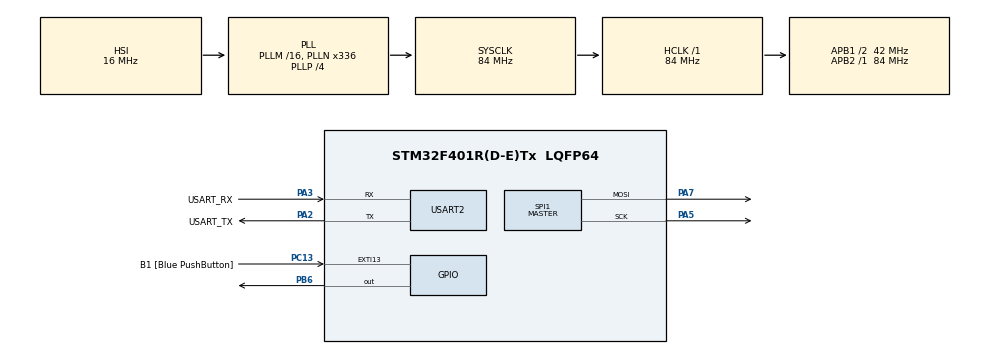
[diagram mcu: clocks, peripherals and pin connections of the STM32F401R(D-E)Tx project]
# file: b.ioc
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Dma.Request0=SPI1_TX
Dma.SPI1_TX.0.Direction=DMA_MEMORY_TO_PERIPH
Dma.SPI1_TX.0.FIFOMode=DMA_FIFOMODE_DISABLE
Dma.SPI1_TX.0.Instance=DMA2_Stream3
Dma.SPI1_TX.0.MemDataAlignment=DMA_MDATAALIGN_BYTE
Dma.SPI1_TX.0.MemInc=DMA_MINC_ENABLE
Dma.SPI1_TX.0.Mode=DMA_NORMAL
Dma.SPI1_TX.0.PeriphDataAlignment=DMA_PDATAALIGN_BYTE
Dma.SPI1_TX.0.PeriphInc=DMA_PINC_DISABLE
Dma.SPI1_TX.0.Priority=DMA_PRIORITY_LOW
Mcu.Family=STM32F4
Mcu.Name=STM32F401R(D-E)Tx
Mcu.Package=LQFP64
NVIC.DMA2_Stream3_IRQn=true\:0\:0\:false\:false\:true\:false\:true\:true
NVIC.PriorityGroup=NVIC_PRIORITYGROUP_0
NVIC.SPI1_IRQn=true\:0\:0\:false\:false\:true\:true\:true\:true
NVIC.TIM1_UP_TIM10_IRQn=true\:0\:0\:false\:false\:true\:true\:true\:true
NVIC.TIM2_IRQn=true\:0\:0\:false\:false\:true\:true\:true\:true
PA13.GPIO_Label=TMS
PA13.Mode=Serial_Wire
PA13.Signal=SYS_JTMS-SWDIO
PA14.GPIO_Label=TCK
PA14.Mode=Serial_Wire
PA14.Signal=SYS_JTCK-SWCLK
PA2.GPIO_Label=USART_TX
PA2.GPIO_Mode=GPIO_MODE_AF_PP
PA2.GPIO_PuPd=GPIO_NOPULL
PA2.GPIO_Speed=GPIO_SPEED_FREQ_LOW
PA2.Mode=Asynchronous
PA2.Signal=USART2_TX
PA3.GPIO_Label=USART_RX
PA3.GPIO_Mode=GPIO_MODE_AF_PP
PA3.GPIO_PuPd=GPIO_NOPULL
PA3.GPIO_Speed=GPIO_SPEED_FREQ_LOW
PA3.Mode=Asynchronous
PA3.Signal=USART2_RX
PA5.Mode=TX_Only_Simplex_Unidirect_Master
PA5.Signal=SPI1_SCK
PA7.Mode=TX_Only_Simplex_Unidirect_Master
PA7.Signal=SPI1_MOSI
PB3.GPIO_Label=SWO
PB3.Signal=SYS_JTDO-SWO
PB6.Signal=GPIO_Output
PC13-ANTI_TAMP.GPIO_Label=B1 [Blue PushButton]
PC13-ANTI_TAMP.GPIO_ModeDefaultEXTI=GPIO_MODE_IT_FALLING
PC13-ANTI_TAMP.GPIO_PuPd=GPIO_NOPULL
PC13-ANTI_TAMP.Signal=GPXTI13
PC14-OSC32_IN.Mode=LSE-External-Oscillator
PC14-OSC32_IN.Signal=RCC_OSC32_IN
PC15-OSC32_OUT.Mode=LSE-External-Oscillator
PC15-OSC32_OUT.Signal=RCC_OSC32_OUT
PH0\ -\ OSC_IN.Mode=HSE-External-Clock-Source
PH0\ -\ OSC_IN.Signal=RCC_OSC_IN
PH1\ -\ OSC_OUT.Mode=HSE-External-Clock-Source
PH1\ -\ OSC_OUT.Signal=RCC_OSC_OUT
ProjectManager.HeapSize=0x200
ProjectManager.StackSize=0x400
ProjectManager.TargetToolchain=STM32CubeIDE
RCC.48MHZClocksFreq_Value=48000000
RCC.AHBFreq_Value=84000000
RCC.APB1CLKDivider=RCC_HCLK_DIV2
RCC.APB1Freq_Value=42000000
RCC.APB1TimFreq_Value=84000000
RCC.APB2Freq_Value=84000000
RCC.APB2TimFreq_Value=84000000
RCC.CortexFreq_Value=84000000
RCC.HCLKFreq_Value=84000000
RCC.HSE_VALUE=8000000
RCC.HSI_VALUE=16000000
RCC.PLLN=336
RCC.PLLP=RCC_PLLP_DIV4
RCC.PLLQ=7
RCC.SYSCLKFreq_VALUE=84000000
RCC.SYSCLKSource=RCC_SYSCLKSOURCE_PLLCLK
RCC.VCOOutputFreq_Value=336000000
SPI1.BaudRatePrescaler=SPI_BAUDRATEPRESCALER_4
SPI1.Direction=SPI_DIRECTION_2LINES
SPI1.Mode=SPI_MODE_MASTER
SPI1.VirtualType=VM_MASTER
TIM10.Period=10000-1
TIM10.Prescaler=8400-1
TIM2.Period=40-1
TIM2.Prescaler=8400-1
USART2.VirtualMode=VM_ASYNC
VP_TIM10_VS_ClockSourceINT.Mode=Enable_Timer
VP_TIM2_VS_ClockSourceINT.Mode=Internal
board=NUCLEO-F401RE

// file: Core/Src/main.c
/* USER CODE BEGIN Header */
/**
  ******************************************************************************
  * @file           : main.c
  * @brief          : Main program body
  ******************************************************************************
  * @attention
  *
  * Copyright (c) 2023 STMicroelectronics.
  * All rights reserved.
  *
  * This software is licensed under terms that can be found in the LICENSE file
  * in the root directory of this software component.
  * If no LICENSE file comes with this software, it is provided AS-IS.
  *
  ******************************************************************************
  */
/* USER CODE END Header */
#include "main.h"

/* USER CODE BEGIN Includes */
#include <string.h>
/* USER CODE END Includes */

/* USER CODE BEGIN PD */
#define RCLK_PIN GPIOB,GPIO_PIN_6
/* USER CODE END PD */

SPI_HandleTypeDef hspi1;
DMA_HandleTypeDef hdma_spi1_tx;

TIM_HandleTypeDef htim2;
TIM_HandleTypeDef htim10;

UART_HandleTypeDef huart2;

/* USER CODE BEGIN PV */
int column_index = 0;
int letter_index = 0;

uint8_t matrix[5][2] = {	// {row, col}, where row is content, col is address
		{49, 16},
		{73, 8},
		{73, 4},
		{73, 2},
		{70, 1}
};

uint8_t matrixS[5][2] = {
		{49, 16},
		{73, 8},
		{73, 4},
		{73, 2},
		{70, 1}
};

uint8_t matrixT[5][2] = {
		{64, 16},
		{64, 8},
		{127, 4},
		{64, 2},
		{64, 1}
};
/* USER CODE END PV */

void SystemClock_Config(void);
static void MX_GPIO_Init(void);
static void MX_DMA_Init(void);
static void MX_USART2_UART_Init(void);
static void MX_SPI1_Init(void);
static void MX_TIM2_Init(void);
static void MX_TIM10_Init(void);

int main(void)
{

  /* MCU Configuration--------------------------------------------------------*/

  /* Reset of all peripherals, Initializes the Flash interface and the Systick. */
  HAL_Init();

  /* Configure the system clock */
  SystemClock_Config();

  /* Initialize all configured peripherals */
  MX_GPIO_Init();
  MX_DMA_Init();
  MX_USART2_UART_Init();
  MX_SPI1_Init();
  MX_TIM2_Init();
  MX_TIM10_Init();
  /* USER CODE BEGIN 2 */
  HAL_TIM_Base_Start_IT(&htim2);
  HAL_TIM_Base_Start_IT(&htim10);
  /* USER CODE END 2 */

  /* Infinite loop */
  while (1)
  {

  }
}

void SystemClock_Config(void)
{
  RCC_OscInitTypeDef RCC_OscInitStruct = {0};
  RCC_ClkInitTypeDef RCC_ClkInitStruct = {0};

  /** Configure the main internal regulator output voltage
  */
  __HAL_RCC_PWR_CLK_ENABLE();
  __HAL_PWR_VOLTAGESCALING_CONFIG(PWR_REGULATOR_VOLTAGE_SCALE2);

  /** Initializes the RCC Oscillators according to the specified parameters
  * in the RCC_OscInitTypeDef structure.
  */
  RCC_OscInitStruct.OscillatorType = RCC_OSCILLATORTYPE_HSI;
  RCC_OscInitStruct.HSIState = RCC_HSI_ON;
  RCC_OscInitStruct.HSICalibrationValue = RCC_HSICALIBRATION_DEFAULT;
  RCC_OscInitStruct.PLL.PLLState = RCC_PLL_ON;
  RCC_OscInitStruct.PLL.PLLSource = RCC_PLLSOURCE_HSI;
  RCC_OscInitStruct.PLL.PLLM = 16;
  RCC_OscInitStruct.PLL.PLLN = 336;
  RCC_OscInitStruct.PLL.PLLP = RCC_PLLP_DIV4;
  RCC_OscInitStruct.PLL.PLLQ = 7;
  if (HAL_RCC_OscConfig(&RCC_OscInitStruct) != HAL_OK)
  {
    Error_Handler();
  }

  /** Initializes the CPU, AHB and APB buses clocks
  */
  RCC_ClkInitStruct.ClockType = RCC_CLOCKTYPE_HCLK|RCC_CLOCKTYPE_SYSCLK
                              |RCC_CLOCKTYPE_PCLK1|RCC_CLOCKTYPE_PCLK2;
  RCC_ClkInitStruct.SYSCLKSource = RCC_SYSCLKSOURCE_PLLCLK;
  RCC_ClkInitStruct.AHBCLKDivider = RCC_SYSCLK_DIV1;
  RCC_ClkInitStruct.APB1CLKDivider = RCC_HCLK_DIV2;
  RCC_ClkInitStruct.APB2CLKDivider = RCC_HCLK_DIV1;

  if (HAL_RCC_ClockConfig(&RCC_ClkInitStruct, FLASH_LATENCY_2) != HAL_OK)
  {
    Error_Handler();
  }
}

static void MX_SPI1_Init(void)
{

  /* SPI1 parameter configuration*/
  hspi1.Instance = SPI1;
  hspi1.Init.Mode = SPI_MODE_MASTER;
  hspi1.Init.Direction = SPI_DIRECTION_2LINES;
  hspi1.Init.DataSize = SPI_DATASIZE_8BIT;
  hspi1.Init.CLKPolarity = SPI_POLARITY_LOW;
  hspi1.Init.CLKPhase = SPI_PHASE_1EDGE;
  hspi1.Init.NSS = SPI_NSS_SOFT;
  hspi1.Init.BaudRatePrescaler = SPI_BAUDRATEPRESCALER_4;
  hspi1.Init.FirstBit = SPI_FIRSTBIT_MSB;
  hspi1.Init.TIMode = SPI_TIMODE_DISABLE;
  hspi1.Init.CRCCalculation = SPI_CRCCALCULATION_DISABLE;
  hspi1.Init.CRCPolynomial = 10;
  if (HAL_SPI_Init(&hspi1) != HAL_OK)
  {
    Error_Handler();
  }

}

static void MX_TIM2_Init(void)
{

  TIM_ClockConfigTypeDef sClockSourceConfig = {0};
  TIM_MasterConfigTypeDef sMasterConfig = {0};

  htim2.Instance = TIM2;
  htim2.Init.Prescaler = 8400-1;
  htim2.Init.CounterMode = TIM_COUNTERMODE_UP;
  htim2.Init.Period = 40-1;
  htim2.Init.ClockDivision = TIM_CLOCKDIVISION_DIV1;
  htim2.Init.AutoReloadPreload = TIM_AUTORELOAD_PRELOAD_DISABLE;
  if (HAL_TIM_Base_Init(&htim2) != HAL_OK)
  {
    Error_Handler();
  }
  sClockSourceConfig.ClockSource = TIM_CLOCKSOURCE_INTERNAL;
  if (HAL_TIM_ConfigClockSource(&htim2, &sClockSourceConfig) != HAL_OK)
  {
    Error_Handler();
  }
  sMasterConfig.MasterOutputTrigger = TIM_TRGO_RESET;
  sMasterConfig.MasterSlaveMode = TIM_MASTERSLAVEMODE_DISABLE;
  if (HAL_TIMEx_MasterConfigSynchronization(&htim2, &sMasterConfig) != HAL_OK)
  {
    Error_Handler();
  }

}

static void MX_TIM10_Init(void)
{

  htim10.Instance = TIM10;
  htim10.Init.Prescaler = 8400-1;
  htim10.Init.CounterMode = TIM_COUNTERMODE_UP;
  htim10.Init.Period = 10000-1;
  htim10.Init.ClockDivision = TIM_CLOCKDIVISION_DIV1;
  htim10.Init.AutoReloadPreload = TIM_AUTORELOAD_PRELOAD_DISABLE;
  if (HAL_TIM_Base_Init(&htim10) != HAL_OK)
  {
    Error_Handler();
  }

}

static void MX_USART2_UART_Init(void)
{

  huart2.Instance = USART2;
  huart2.Init.BaudRate = 115200;
  huart2.Init.WordLength = UART_WORDLENGTH_8B;
  huart2.Init.StopBits = UART_STOPBITS_1;
  huart2.Init.Parity = UART_PARITY_NONE;
  huart2.Init.Mode = UART_MODE_TX_RX;
  huart2.Init.HwFlowCtl = UART_HWCONTROL_NONE;
  huart2.Init.OverSampling = UART_OVERSAMPLING_16;
  if (HAL_UART_Init(&huart2) != HAL_OK)
  {
    Error_Handler();
  }

}

static void MX_DMA_Init(void)
{

  /* DMA controller clock enable */
  __HAL_RCC_DMA2_CLK_ENABLE();

  /* DMA interrupt init */
  /* DMA2_Stream3_IRQn interrupt configuration */
  HAL_NVIC_SetPriority(DMA2_Stream3_IRQn, 0, 0);
  HAL_NVIC_EnableIRQ(DMA2_Stream3_IRQn);

}

static void MX_GPIO_Init(void)
{
  GPIO_InitTypeDef GPIO_InitStruct = {0};

  /* GPIO Ports Clock Enable */
  __HAL_RCC_GPIOC_CLK_ENABLE();
  __HAL_RCC_GPIOH_CLK_ENABLE();
  __HAL_RCC_GPIOA_CLK_ENABLE();
  __HAL_RCC_GPIOB_CLK_ENABLE();

  /*Configure GPIO pin Output Level */
  HAL_GPIO_WritePin(GPIOB, GPIO_PIN_6, GPIO_PIN_RESET);

  /*Configure GPIO pin : B1_Pin */
  GPIO_InitStruct.Pin = B1_Pin;
  GPIO_InitStruct.Mode = GPIO_MODE_IT_FALLING;
  GPIO_InitStruct.Pull = GPIO_NOPULL;
  HAL_GPIO_Init(B1_GPIO_Port, &GPIO_InitStruct);

  /*Configure GPIO pin : PB6 */
  GPIO_InitStruct.Pin = GPIO_PIN_6;
  GPIO_InitStruct.Mode = GPIO_MODE_OUTPUT_PP;
  GPIO_InitStruct.Pull = GPIO_NOPULL;
  GPIO_InitStruct.Speed = GPIO_SPEED_FREQ_LOW;
  HAL_GPIO_Init(GPIOB, &GPIO_InitStruct);

}

/* USER CODE BEGIN 4 */
void HAL_TIM_PeriodElapsedCallback(TIM_HandleTypeDef *htim)
{
	if(htim == &htim2)
		HAL_SPI_Transmit_DMA(&hspi1, matrix[column_index], 2);

	if(htim == &htim10)
	{
		if(letter_index == 0)
			memcpy(matrix, matrixS, sizeof(matrix));
		else
			memcpy(matrix, matrixT, sizeof(matrix));

		if(++letter_index > 1)
			letter_index = 0;
	}
}

void HAL_SPI_TxCpltCallback(SPI_HandleTypeDef *hspi)
{
	HAL_GPIO_WritePin(RCLK_PIN, GPIO_PIN_SET);
	if(++column_index > 4)
		column_index = 0;
	HAL_GPIO_WritePin(RCLK_PIN, GPIO_PIN_RESET);
}
/* USER CODE END 4 */

void Error_Handler(void)
{
  __disable_irq();
  while (1)
  {
  }
}
